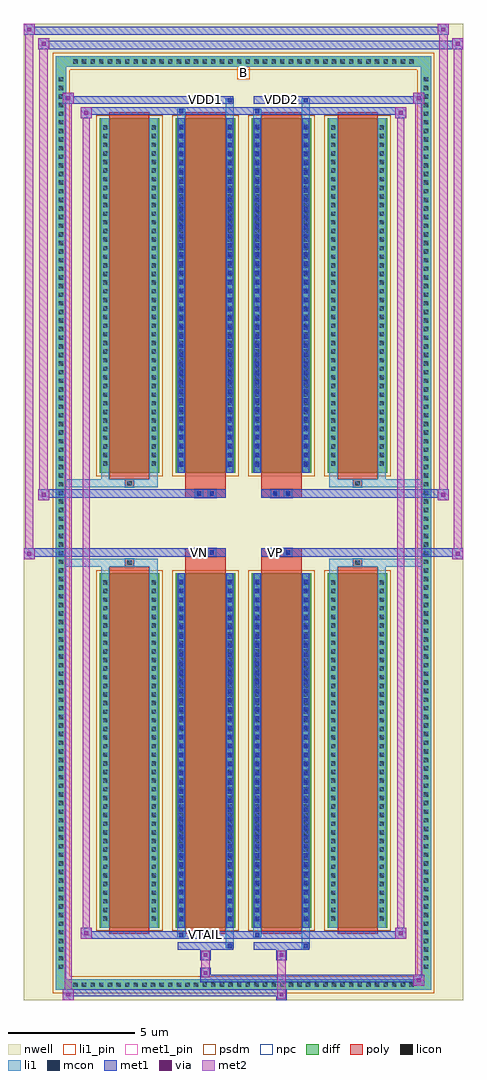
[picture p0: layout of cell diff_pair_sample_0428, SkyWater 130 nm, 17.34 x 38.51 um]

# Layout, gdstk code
import gdstk
lib = gdstk.Library(unit=1e-6, precision=5e-09)
def R(c, l, rs):  # rectangles x0, y0, x1, y1
    for r in rs: c.add(gdstk.rectangle(r[:2], r[2:], *l))
def A(c, l, x, y, w, h, nx, ny, dx, dy):  # array of equal rectangles
    R(c, l, [(x+i*dx, y+j*dy, x+i*dx+w, y+j*dy+h) for i in range(nx) for j in range(ny)])
def P(c, l, *ps):  # polygons
    for p in ps: c.add(gdstk.Polygon(p, *l))
nwell = (64, 20)
diff = (65, 20)
poly = (66, 20)
licon = (66, 44)
li1_pin = (67, 16)
li1 = (67, 20)
mcon = (67, 44)
met1_pin = (68, 16)
met1 = (68, 20)
via = (68, 44)
met2 = (69, 20)
psdm = (94, 20)
npc = (95, 20)

diff_pair_sample_0428 = lib.new_cell('diff_pair_sample_0428')
R(diff_pair_sample_0428, nwell, [(-8.67,-18.82,8.67,19.69), (-5.99,-17.01,-0.01,-0.795), (0.01,-17.01,5.99,-0.795), (-5.99,0.795,-0.01,17.01), (0.01,0.795,5.99,17.01)])
A(diff_pair_sample_0428, diff, -6.835, -18.42, 0.41, 0.41, 40, 2, 0.34, 36.43)
A(diff_pair_sample_0428, diff, -7.4, -17.715, 0.41, 0.41, 1, 104, 0, 0.34)
A(diff_pair_sample_0428, diff, 6.99, -17.715, 0.41, 0.41, 1, 104, 0, 0.34)
A(diff_pair_sample_0428, diff, -5.68, -15.965, 2.36, 13.98, 4, 2, 3, 17.95)
R(diff_pair_sample_0428, diff, [(-6.835,-18.42,6.835,-18.01), (-7.4,-17.715,-6.99,17.715), (6.99,-17.715,7.4,17.715), (-6.835,18.01,6.835,18.42)])
P(diff_pair_sample_0428, diff, [(7.4,18.42),(-7.4,18.42),(-7.4,-18.01),(-6.99,-18.01),(-6.99,18.01),(6.99,18.01),(6.99,-18.01),(-6.99,-18.01),(-7.4,-18.01),(-7.4,-18.42),(7.4,-18.42)])
A(diff_pair_sample_0428, poly, -5.29, -16.215, 1.58, 14.48, 4, 2, 3, 17.95)
R(diff_pair_sample_0428, poly, [(-4.665,-1.735,-4.335,-1.405), (-4.665,-1.735,-4.335,-1.405), (-2.29,-1.735,-0.71,-1.325), (0.71,-1.735,2.29,-1.325), (4.335,-1.735,4.665,-1.405), (4.335,-1.735,4.665,-1.405), (-2.29,-1.325,-0.71,-0.995), (-1.915,-1.325,-1.585,-0.995), (-1.415,-1.325,-1.085,-0.995), (0.71,-1.325,2.29,-0.995), (1.085,-1.325,1.415,-0.995), (1.585,-1.325,1.915,-0.995), (-2.29,0.995,-0.71,1.325), (-1.915,0.995,-1.585,1.325), (-1.415,0.995,-1.085,1.325), (0.71,0.995,2.29,1.325), (1.085,0.995,1.415,1.325), (1.585,0.995,1.915,1.325), (-2.29,1.325,-0.71,1.735), (0.71,1.325,2.29,1.735), (-4.665,1.405,-4.335,1.735), (-4.665,1.405,-4.335,1.735), (4.335,1.405,4.665,1.735), (4.335,1.405,4.665,1.735)])
A(diff_pair_sample_0428, licon, -6.715, -18.3, 0.17, 0.17, 40, 2, 0.34, 36.43)
A(diff_pair_sample_0428, licon, -7.28, -17.595, 0.17, 0.17, 1, 104, 0, 0.34)
A(diff_pair_sample_0428, licon, 7.11, -17.595, 0.17, 0.17, 1, 104, 0, 0.34)
A(diff_pair_sample_0428, licon, -5.54, -15.69, 0.17, 0.17, 1, 40, 0, 0.34)
A(diff_pair_sample_0428, licon, -3.63, -15.69, 0.17, 0.17, 1, 40, 0, 0.34)
A(diff_pair_sample_0428, licon, -2.54, -15.69, 0.17, 0.17, 1, 40, 0, 0.34)
A(diff_pair_sample_0428, licon, -0.63, -15.69, 0.17, 0.17, 1, 40, 0, 0.34)
A(diff_pair_sample_0428, licon, 0.46, -15.69, 0.17, 0.17, 1, 40, 0, 0.34)
A(diff_pair_sample_0428, licon, 2.37, -15.69, 0.17, 0.17, 1, 40, 0, 0.34)
A(diff_pair_sample_0428, licon, 3.46, -15.69, 0.17, 0.17, 1, 40, 0, 0.34)
A(diff_pair_sample_0428, licon, 5.37, -15.69, 0.17, 0.17, 1, 40, 0, 0.34)
A(diff_pair_sample_0428, licon, -5.54, 2.26, 0.17, 0.17, 1, 40, 0, 0.34)
A(diff_pair_sample_0428, licon, -3.63, 2.26, 0.17, 0.17, 1, 40, 0, 0.34)
A(diff_pair_sample_0428, licon, -2.54, 2.26, 0.17, 0.17, 1, 40, 0, 0.34)
A(diff_pair_sample_0428, licon, -0.63, 2.26, 0.17, 0.17, 1, 40, 0, 0.34)
A(diff_pair_sample_0428, licon, 0.46, 2.26, 0.17, 0.17, 1, 40, 0, 0.34)
A(diff_pair_sample_0428, licon, 2.37, 2.26, 0.17, 0.17, 1, 40, 0, 0.34)
A(diff_pair_sample_0428, licon, 3.46, 2.26, 0.17, 0.17, 1, 40, 0, 0.34)
A(diff_pair_sample_0428, licon, 5.37, 2.26, 0.17, 0.17, 1, 40, 0, 0.34)
R(diff_pair_sample_0428, licon, [(-4.585,-1.655,-4.415,-1.485), (4.415,-1.655,4.585,-1.485), (-1.835,-1.245,-1.665,-1.075), (-1.335,-1.245,-1.165,-1.075), (1.165,-1.245,1.335,-1.075), (1.665,-1.245,1.835,-1.075), (-1.835,1.075,-1.665,1.245), (-1.335,1.075,-1.165,1.245), (1.165,1.075,1.335,1.245), (1.665,1.075,1.835,1.245), (-4.585,1.485,-4.415,1.655), (4.415,1.485,4.585,1.655)])
R(diff_pair_sample_0428, li1_pin, [(-0.25,17.51,0.25,18.01)])
A(diff_pair_sample_0428, li1, -6.795, -18.38, 0.33, 0.33, 40, 2, 0.34, 36.43)
A(diff_pair_sample_0428, li1, -7.36, -17.675, 0.33, 0.33, 1, 104, 0, 0.34)
A(diff_pair_sample_0428, li1, 7.03, -17.675, 0.33, 0.33, 1, 104, 0, 0.34)
A(diff_pair_sample_0428, li1, -5.62, -15.77, 0.33, 0.33, 1, 40, 0, 0.34)
A(diff_pair_sample_0428, li1, -3.71, -15.77, 0.33, 0.33, 1, 40, 0, 0.34)
A(diff_pair_sample_0428, li1, -2.62, -15.77, 0.33, 0.33, 1, 40, 0, 0.34)
A(diff_pair_sample_0428, li1, -0.71, -15.77, 0.33, 0.33, 1, 40, 0, 0.34)
A(diff_pair_sample_0428, li1, 0.38, -15.77, 0.33, 0.33, 1, 40, 0, 0.34)
A(diff_pair_sample_0428, li1, 2.29, -15.77, 0.33, 0.33, 1, 40, 0, 0.34)
A(diff_pair_sample_0428, li1, 3.38, -15.77, 0.33, 0.33, 1, 40, 0, 0.34)
A(diff_pair_sample_0428, li1, 5.29, -15.77, 0.33, 0.33, 1, 40, 0, 0.34)
A(diff_pair_sample_0428, li1, -2.54, -15.72, 0.17, 0.17, 1, 38, 0, 0.36)
A(diff_pair_sample_0428, li1, -0.63, -15.72, 0.17, 0.17, 1, 38, 0, 0.36)
A(diff_pair_sample_0428, li1, 0.46, -15.72, 0.17, 0.17, 1, 38, 0, 0.36)
A(diff_pair_sample_0428, li1, 2.37, -15.72, 0.17, 0.17, 1, 38, 0, 0.36)
A(diff_pair_sample_0428, li1, -5.62, 2.18, 0.33, 0.33, 1, 40, 0, 0.34)
A(diff_pair_sample_0428, li1, -3.71, 2.18, 0.33, 0.33, 1, 40, 0, 0.34)
A(diff_pair_sample_0428, li1, -2.62, 2.18, 0.33, 0.33, 1, 40, 0, 0.34)
A(diff_pair_sample_0428, li1, -0.71, 2.18, 0.33, 0.33, 1, 40, 0, 0.34)
A(diff_pair_sample_0428, li1, 0.38, 2.18, 0.33, 0.33, 1, 40, 0, 0.34)
A(diff_pair_sample_0428, li1, 2.29, 2.18, 0.33, 0.33, 1, 40, 0, 0.34)
A(diff_pair_sample_0428, li1, 3.38, 2.18, 0.33, 0.33, 1, 40, 0, 0.34)
A(diff_pair_sample_0428, li1, 5.29, 2.18, 0.33, 0.33, 1, 40, 0, 0.34)
A(diff_pair_sample_0428, li1, -2.54, 2.23, 0.17, 0.17, 1, 38, 0, 0.36)
A(diff_pair_sample_0428, li1, -0.63, 2.23, 0.17, 0.17, 1, 38, 0, 0.36)
A(diff_pair_sample_0428, li1, 0.46, 2.23, 0.17, 0.17, 1, 38, 0, 0.36)
A(diff_pair_sample_0428, li1, 2.37, 2.23, 0.17, 0.17, 1, 38, 0, 0.36)
R(diff_pair_sample_0428, li1, [(-7.4,-18.42,-6.99,-18.01), (-7.4,-18.42,-6.99,-18.01), (-6.99,-18.42,6.99,-18.01), (6.99,-18.42,7.4,-18.01), (6.99,-18.42,7.4,-18.01), (-7.4,-18.01,-6.99,18.01), (6.99,-18.01,7.4,18.01), (-0.71,-16.77,-0.38,-15.965), (-0.63,-16.77,-0.46,-16.6), (2.29,-16.77,2.62,-15.965), (2.37,-16.77,2.54,-16.6), (-2.62,-16.34,-2.29,-15.965), (-2.54,-16.34,-2.37,-16.17), (0.38,-16.34,0.71,-15.965), (0.46,-16.34,0.63,-16.17), (-5.62,-15.965,-5.29,-1.985), (-3.71,-15.965,-3.38,-1.985), (-2.62,-15.965,-2.29,-1.985), (-0.71,-15.965,-0.38,-1.985), (0.38,-15.965,0.71,-1.985), (2.29,-15.965,2.62,-1.985), (3.38,-15.965,3.71,-1.985), (5.29,-15.965,5.62,-1.985), (-2.54,-15.72,-2.37,-2.23), (-0.63,-15.72,-0.46,-2.23), (0.46,-15.72,0.63,-2.23), (2.37,-15.72,2.54,-2.23), (-5.62,-1.985,-5.29,-1.405), (-3.71,-1.985,-3.38,-1.405), (3.38,-1.985,3.71,-1.405), (5.29,-1.985,5.62,-1.405), (-7.4,-1.735,-4.665,-1.405), (-5.62,-1.735,-4.665,-1.405), (-4.665,-1.735,-4.335,-1.405), (-4.335,-1.735,-3.38,-1.405), (3.38,-1.735,4.335,-1.405), (4.335,-1.735,4.665,-1.405), (4.335,-1.735,7.4,-1.405), (4.665,-1.735,5.62,-1.405), (-1.915,-1.325,-1.585,-0.995), (-1.415,-1.325,-1.085,-0.995), (1.085,-1.325,1.415,-0.995), (1.585,-1.325,1.915,-0.995), (-1.915,0.995,-1.585,1.325), (-1.415,0.995,-1.085,1.325), (1.085,0.995,1.415,1.325), (1.585,0.995,1.915,1.325), (-7.4,1.405,-4.665,1.735), (-5.62,1.405,-4.665,1.735), (-5.62,1.405,-5.29,1.985), (-4.665,1.405,-4.335,1.735), (-4.335,1.405,-3.38,1.735), (-3.71,1.405,-3.38,1.985), (3.38,1.405,4.335,1.735), (3.38,1.405,3.71,1.985), (4.335,1.405,4.665,1.735), (4.335,1.405,7.4,1.735), (4.665,1.405,5.62,1.735), (5.29,1.405,5.62,1.985), (-5.62,1.985,-5.29,15.965), (-3.71,1.985,-3.38,15.965), (-2.62,1.985,-2.29,15.965), (-0.71,1.985,-0.38,15.965), (0.38,1.985,0.71,15.965), (2.29,1.985,2.62,15.965), (3.38,1.985,3.71,15.965), (5.29,1.985,5.62,15.965), (-2.54,2.23,-2.37,15.72), (-0.63,2.23,-0.46,15.72), (0.46,2.23,0.63,15.72), (2.37,2.23,2.54,15.72), (-2.62,15.965,-2.29,16.34), (-0.71,15.965,-0.38,16.77), (0.38,15.965,0.71,16.34), (2.29,15.965,2.62,16.77), (-2.54,16.17,-2.37,16.34), (0.46,16.17,0.63,16.34), (-0.63,16.6,-0.46,16.77), (2.37,16.6,2.54,16.77), (-7.4,18.01,-6.99,18.42), (-7.4,18.01,-6.99,18.42), (-6.99,18.01,6.99,18.42), (6.99,18.01,7.4,18.42), (6.99,18.01,7.4,18.42)])
A(diff_pair_sample_0428, mcon, -2.54, -15.72, 0.17, 0.17, 1, 38, 0, 0.36)
A(diff_pair_sample_0428, mcon, -0.63, -15.72, 0.17, 0.17, 1, 38, 0, 0.36)
A(diff_pair_sample_0428, mcon, 0.46, -15.72, 0.17, 0.17, 1, 38, 0, 0.36)
A(diff_pair_sample_0428, mcon, 2.37, -15.72, 0.17, 0.17, 1, 38, 0, 0.36)
A(diff_pair_sample_0428, mcon, -2.54, 2.23, 0.17, 0.17, 1, 38, 0, 0.36)
A(diff_pair_sample_0428, mcon, -0.63, 2.23, 0.17, 0.17, 1, 38, 0, 0.36)
A(diff_pair_sample_0428, mcon, 0.46, 2.23, 0.17, 0.17, 1, 38, 0, 0.36)
A(diff_pair_sample_0428, mcon, 2.37, 2.23, 0.17, 0.17, 1, 38, 0, 0.36)
R(diff_pair_sample_0428, mcon, [(-0.63,-16.77,-0.46,-16.6), (2.37,-16.77,2.54,-16.6), (-2.54,-16.34,-2.37,-16.17), (0.46,-16.34,0.63,-16.17), (-1.835,-1.245,-1.665,-1.075), (-1.335,-1.245,-1.165,-1.075), (1.165,-1.245,1.335,-1.075), (1.665,-1.245,1.835,-1.075), (-1.835,1.075,-1.665,1.245), (-1.335,1.075,-1.165,1.245), (1.165,1.075,1.335,1.245), (1.665,1.075,1.835,1.245), (-2.54,16.17,-2.37,16.34), (0.46,16.17,0.63,16.34), (-0.63,16.6,-0.46,16.77), (2.37,16.6,2.54,16.77)])
R(diff_pair_sample_0428, met1_pin, [(-1.635,-16.38,-1.365,-16.11), (-1.885,-1.285,-1.615,-1.015), (1.115,-1.285,1.385,-1.015), (-1.635,16.56,-1.365,16.83), (1.365,16.56,1.635,16.83)])
A(diff_pair_sample_0428, met1, -2.6, -15.78, 0.29, 0.29, 1, 38, 0, 0.36)
A(diff_pair_sample_0428, met1, -0.69, -15.78, 0.29, 0.29, 1, 38, 0, 0.36)
A(diff_pair_sample_0428, met1, 0.4, -15.78, 0.29, 0.29, 1, 38, 0, 0.36)
A(diff_pair_sample_0428, met1, 2.31, -15.78, 0.29, 0.29, 1, 38, 0, 0.36)
A(diff_pair_sample_0428, met1, -2.6, 2.17, 0.29, 0.29, 1, 38, 0, 0.36)
A(diff_pair_sample_0428, met1, -0.69, 2.17, 0.29, 0.29, 1, 38, 0, 0.36)
A(diff_pair_sample_0428, met1, 0.4, 2.17, 0.29, 0.29, 1, 38, 0, 0.36)
A(diff_pair_sample_0428, met1, 2.31, 2.17, 0.29, 0.29, 1, 38, 0, 0.36)
R(diff_pair_sample_0428, met1, [(-7.13,-18.82,-6.7,-18.39), (1.285,-18.82,1.715,-18.39), (-7.13,-18.68,1.715,-18.39), (6.7,-18.25,7.13,-17.82), (-1.715,-18.11,7.13,-17.82), (-1.715,-17.97,-1.285,-17.54), (-1.715,-17.26,-1.285,-16.83), (1.285,-17.26,1.715,-16.83), (-2.6,-16.83,-0.4,-16.54), (-0.69,-16.83,-0.4,-16.54), (0.4,-16.83,2.6,-16.54), (2.31,-16.83,2.6,-16.54), (-6.42,-16.4,-5.99,-15.97), (-6.42,-16.4,-2.6,-16.11), (-2.6,-16.4,-2.31,-16.11), (-2.6,-16.4,-0.4,-16.11), (-0.4,-16.4,0.4,-16.11), (0.4,-16.4,0.69,-16.11), (0.4,-16.4,2.6,-16.11), (2.6,-16.4,6.42,-16.11), (5.99,-16.4,6.42,-15.97), (-2.6,-15.965,-2.31,-1.985), (-0.69,-15.965,-0.4,-1.985), (0.4,-15.965,0.69,-1.985), (2.31,-15.965,2.6,-1.985), (-8.67,-1.425,-8.24,-0.995), (8.24,-1.425,8.67,-0.995), (-8.67,-1.325,-0.71,-0.995), (-2.29,-1.325,-0.71,-0.995), (0.71,-1.325,2.29,-0.995), (0.71,-1.325,8.67,-0.995), (-1.895,-1.305,-1.605,-1.015), (-1.395,-1.305,-1.105,-1.015), (1.105,-1.305,1.395,-1.015), (1.605,-1.305,1.895,-1.015), (-8.1,0.895,-7.67,1.325), (7.67,0.895,8.1,1.325), (-8.1,0.995,-2.29,1.325), (-2.29,0.995,-0.71,1.325), (0.71,0.995,2.29,1.325), (2.29,0.995,8.1,1.325), (-1.895,1.015,-1.605,1.305), (-1.395,1.015,-1.105,1.305), (1.105,1.015,1.395,1.305), (1.605,1.015,1.895,1.305), (-2.6,1.985,-2.31,15.965), (-0.69,1.985,-0.4,15.965), (0.4,1.985,0.69,15.965), (2.31,1.985,2.6,15.965), (-6.42,15.97,-5.99,16.4), (5.99,15.97,6.42,16.4), (-6.42,16.11,-2.6,16.4), (-2.6,16.11,-2.31,16.4), (-2.6,16.11,-0.4,16.4), (-0.4,16.11,0.4,16.4), (0.4,16.11,0.69,16.4), (0.4,16.11,2.6,16.4), (2.6,16.11,6.42,16.4), (-7.13,16.54,-6.7,16.97), (-7.13,16.54,-2.6,16.83), (-2.6,16.54,-0.4,16.83), (-0.69,16.54,-0.4,16.83), (0.4,16.54,2.6,16.83), (2.31,16.54,2.6,16.83), (2.6,16.54,7.13,16.83), (6.7,16.54,7.13,16.97), (-8.1,18.69,-7.67,19.12), (-8.1,18.69,-5.99,19.02), (-5.99,18.69,5.99,19.02), (5.99,18.69,8.67,19.02), (8.24,18.69,8.67,19.12), (-8.67,19.26,-8.24,19.69), (-8.67,19.26,-5.99,19.59), (-5.99,19.26,5.99,19.59), (5.99,19.26,8.1,19.59), (7.67,19.26,8.1,19.69)])
R(diff_pair_sample_0428, via, [(-6.99,-18.68,-6.84,-18.53), (1.425,-18.68,1.575,-18.53), (6.84,-18.11,6.99,-17.96), (-1.575,-17.83,-1.425,-17.68), (-1.575,-17.12,-1.425,-16.97), (1.425,-17.12,1.575,-16.97), (-6.28,-16.26,-6.13,-16.11), (6.13,-16.26,6.28,-16.11), (-8.53,-1.285,-8.38,-1.135), (8.38,-1.285,8.53,-1.135), (-7.96,1.035,-7.81,1.185), (7.81,1.035,7.96,1.185), (-6.28,16.11,-6.13,16.26), (6.13,16.11,6.28,16.26), (-6.99,16.68,-6.84,16.83), (6.84,16.68,6.99,16.83), (-7.96,18.83,-7.81,18.98), (8.38,18.83,8.53,18.98), (-8.53,19.4,-8.38,19.55), (7.81,19.4,7.96,19.55)])
R(diff_pair_sample_0428, met2, [(-7.13,-18.82,-6.7,-18.39), (-7.06,-18.82,-6.77,16.97), (-6.77,-18.82,-6.7,-18.39), (-7.08,-18.77,-6.75,-18.44), (1.335,-18.77,1.665,-18.44), (1.335,-18.44,1.665,-17.21), (6.7,-18.25,7.13,-17.82), (6.77,-18.25,7.06,16.97), (7.06,-18.25,7.13,-17.82), (6.75,-18.2,7.08,-17.87), (-1.665,-17.92,-1.335,-17.59), (-1.665,-17.59,-1.335,-17.21), (-1.665,-17.21,-1.335,-16.88), (1.335,-17.21,1.665,-16.88), (-6.42,-16.4,-5.99,-15.97), (-6.35,-16.4,-6.06,16.4), (-6.06,-16.4,-5.99,-15.97), (5.99,-16.4,6.42,-15.97), (6.06,-16.4,6.35,16.4), (6.35,-16.4,6.42,-15.97), (-6.37,-16.35,-6.04,-16.02), (6.04,-16.35,6.37,-16.02), (-8.67,-1.425,-8.24,-0.995), (-8.62,-1.425,-8.29,19.69), (-8.29,-1.425,-8.24,-0.995), (8.24,-1.425,8.67,-0.995), (8.29,-1.425,8.62,19.12), (8.62,-1.425,8.67,-0.995), (-8.62,-1.375,-8.29,-1.045), (8.29,-1.375,8.62,-1.045), (-8.1,0.895,-7.67,1.325), (-8.05,0.895,-7.72,19.12), (-7.72,0.895,-7.67,1.325), (7.67,0.895,8.1,1.325), (7.72,0.895,8.05,19.69), (8.05,0.895,8.1,1.325), (-8.05,0.945,-7.72,1.275), (7.72,0.945,8.05,1.275), (-6.42,15.97,-5.99,16.4), (-6.06,15.97,-5.99,16.4), (5.99,15.97,6.42,16.4), (6.35,15.97,6.42,16.4), (-6.37,16.02,-6.04,16.35), (6.04,16.02,6.37,16.35), (-7.13,16.54,-6.7,16.97), (-6.77,16.54,-6.7,16.97), (6.7,16.54,7.13,16.97), (7.06,16.54,7.13,16.97), (-7.08,16.59,-6.75,16.92), (6.75,16.59,7.08,16.92), (-8.1,18.69,-7.67,19.12), (-7.72,18.69,-7.67,19.12), (8.24,18.69,8.67,19.12), (8.62,18.69,8.67,19.12), (-8.05,18.74,-7.72,19.07), (8.29,18.74,8.62,19.07), (-8.67,19.26,-8.24,19.69), (-8.29,19.26,-8.24,19.69), (7.67,19.26,8.1,19.69), (8.05,19.26,8.1,19.69), (-8.62,19.31,-8.29,19.64), (7.72,19.31,8.05,19.64)])
A(diff_pair_sample_0428, psdm, -5.81, -16.095, 2.62, 14.24, 4, 2, 3, 17.95)
P(diff_pair_sample_0428, psdm, [(7.53,18.55),(-7.53,18.55),(-7.53,-17.88),(-6.86,-17.88),(-6.86,17.88),(6.86,17.88),(6.86,-17.88),(-6.86,-17.88),(-7.53,-17.88),(-7.53,-18.55),(7.53,-18.55)])
R(diff_pair_sample_0428, npc, [(-4.685,-1.755,-4.315,-1.385), (4.315,-1.755,4.685,-1.385), (-1.935,-1.345,-1.565,-0.975), (-1.935,-1.345,-1.065,-0.975), (-1.935,-1.345,-1.065,-0.975), (-1.435,-1.345,-1.065,-0.975), (1.065,-1.345,1.435,-0.975), (1.065,-1.345,1.935,-0.975), (1.065,-1.345,1.935,-0.975), (1.565,-1.345,1.935,-0.975), (-1.935,0.975,-1.565,1.345), (-1.935,0.975,-1.065,1.345), (-1.935,0.975,-1.065,1.345), (-1.435,0.975,-1.065,1.345), (1.065,0.975,1.435,1.345), (1.065,0.975,1.935,1.345), (1.065,0.975,1.935,1.345), (1.565,0.975,1.935,1.345), (-4.685,1.385,-4.315,1.755), (4.315,1.385,4.685,1.755)])
diff_pair_sample_0428.add(gdstk.Label('VTAIL', (-1.5,-16.245), layer=68, texttype=5))
diff_pair_sample_0428.add(gdstk.Label('VN', (-1.75,-1.15), layer=68, texttype=5))
diff_pair_sample_0428.add(gdstk.Label('VP', (1.25,-1.15), layer=68, texttype=5))
diff_pair_sample_0428.add(gdstk.Label('B', (0,17.76), layer=67, texttype=5))
diff_pair_sample_0428.add(gdstk.Label('VDD2', (1.5,16.695), layer=68, texttype=5))
diff_pair_sample_0428.add(gdstk.Label('VDD1', (-1.5,16.695), layer=68, texttype=5))

lib.write_gds('diff_pair_sample_0428.gds')
